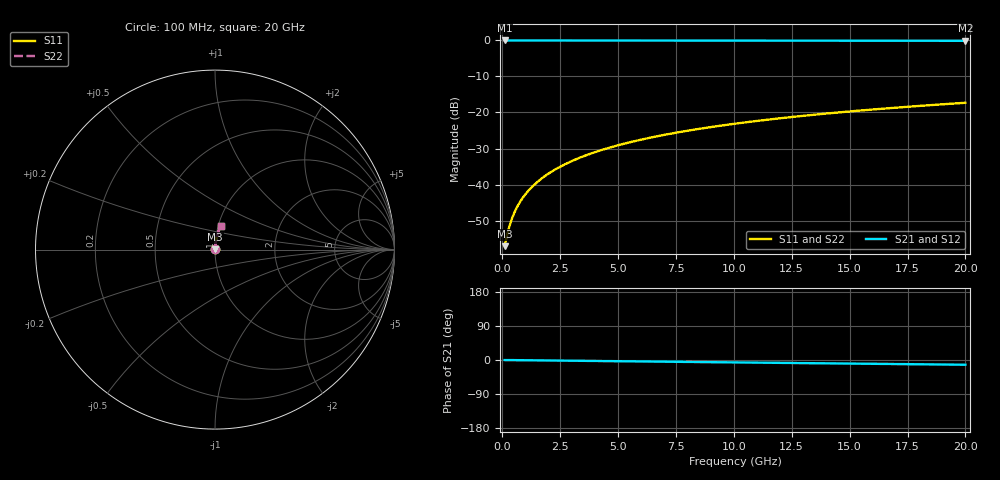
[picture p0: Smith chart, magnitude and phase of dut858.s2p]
! Touchstone file exported from HFSS 2026.1.0
!  File:  C:/ffzhzh/LocalFiles/Ansys_Project_Files/temp_train_TMRDL_858_1783157092_51560.aedt
!  Generated:  05:26:04 PM Jul  4, 2026
!  Design:  TMRDL
!  Project:  temp_train_TMRDL_858_1783157092_51560
! Variables:
!  h_bsmrdl = 2um
!  h_ox = 20um
!  h_rdl = 5um
!  h_sub = 80um
!  h_tmrdl = 2.17um
!  h_tsv = 80um
!  h_via = 3um
!  l_bsmrdl = 300um
!  l_sub = 525.12um
!  l_tmrdl = 125.12um
!  m_sub = 200um
!  pitch = 57.77um
!  r_tsv = 6um
!  s_tmrdl = 10um
!  w_bsmrdl = 18um
!  w_sub = 500um
!  w_tmrdl = 28.75um
!  x_tsv_center1 = 139.495um
!  x_tsv_center2 = 457.495um
!  x_tsv_center3 = 611.365um
!  x_tsv_center4 = 929.365um
!  x_tsv_center5 = 1083.235um
!  x_tsv_center6 = 1401.235um
# GHz S MA R 50.000000
! Terminal data exported
! Port[1] = TM_RDL1_1_T1
! Port[2] = TM_RDL1_1_T2
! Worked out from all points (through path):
!   200 points, 100 MHz to 20 GHz, reference 50 ohm
!   highest |S21| = -0.01 dB at 100 MHz (marker M1); lowest = -0.1 dB at 20 GHz (marker M2)
!   group delay of S21, straight-line fit = 1.74 ps
!   lowest |S11| = -57.1 dB at 100 MHz (marker M3), VSWR 1.00, Z = 50.1 + j0.0767 ohm
!   |S11| at or under -10 dB: start of sweep to end of sweep
!   |S22| runs from -57.1 to -17.3 dB; largest |S21 - S12| = 4.1e-15
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0.1  0.001398 33.2  0.9988 -0.1  0.9988 -0.1  0.001398 33.2
! Gamma 0 0 0 0
! Port Impedance 50 0 50 0
0.2  0.001939 51.7  0.9988 -0.1  0.9988 -0.1  0.001939 51.7
0.3  0.002583 61.2  0.9988 -0.2  0.9988 -0.2  0.002583 61.2
0.4  0.003257 66.6  0.9987 -0.3  0.9987 -0.3  0.003257 66.6
0.5  0.003938 70.0  0.9987 -0.3  0.9987 -0.3  0.003938 70.0
0.6  0.004619 72.5  0.9986 -0.4  0.9986 -0.4  0.004619 72.5
0.8  0.005982 75.7  0.9986 -0.5  0.9986 -0.5  0.005982 75.7
1.1  0.008029 78.7  0.9985 -0.7  0.9985 -0.7  0.008029 78.7
1.3  0.009399 80.0  0.9985 -0.8  0.9985 -0.8  0.009399 80.0
1.6  0.01146 81.3  0.9984 -1.0  0.9984 -1.0  0.01146 81.3
2.1  0.01492 82.6  0.9983 -1.3  0.9983 -1.3  0.01492 82.6
2.7  0.01909 83.5  0.9982 -1.7  0.9982 -1.7  0.01909 83.5
3.5  0.02465 83.9  0.998 -2.2  0.998 -2.2  0.02465 83.9
4.2  0.02953 84.0  0.9979 -2.7  0.9979 -2.7  0.02953 84.0
5  0.03509 84.0  0.9976 -3.2  0.9976 -3.2  0.03509 84.0
5.9  0.04134 83.7  0.9973 -3.7  0.9973 -3.7  0.04134 83.7
6.8  0.04757 83.4  0.997 -4.3  0.997 -4.3  0.04757 83.4
8.3  0.05792 82.7  0.9963 -5.3  0.9963 -5.3  0.05792 82.7
10.1  0.07027 81.8  0.9953 -6.4  0.9953 -6.4  0.07027 81.8
13.4  0.09267 80.0  0.9931 -8.4  0.9931 -8.4  0.09267 80.0
16.7  0.1147 78.1  0.9905 -10.5  0.9905 -10.5  0.1147 78.0
20  0.1364 76.1  0.9874 -12.5  0.9874 -12.5  0.1364 76.1
